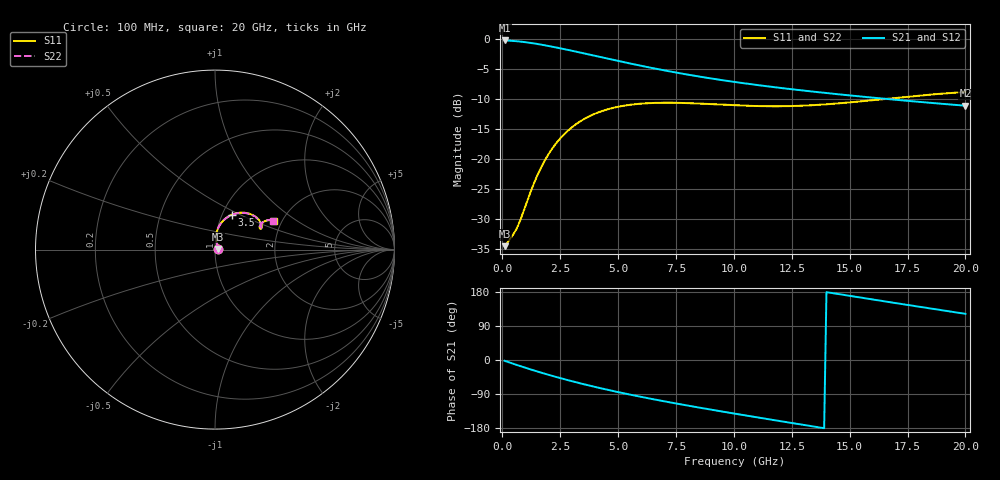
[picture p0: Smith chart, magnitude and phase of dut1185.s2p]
! Touchstone file exported from HFSS 2024.1.0
!  File:  C:/UserFiles/LocalFiles/RDL_TSV_Batchsim/temp_RDL_TSV_1185_1780126617.aedt
!  Generated:  03:53:15 PM May 30, 2026
!  Design:  RDL_TSV
!  Project:  temp_RDL_TSV_1185_1780126617
!  Setup:  Setup1
!  Solution:  Sweep
! Variables:
!  dtsv = 11.88um
!  hbump = 3um
!  htsv = 73.37um
!  ldown = 443.26um
!  lrdl = 528.68um
!  p = 40
!  p1 = 52.03um
!  rhole = 10um
!  subl = 3444.5um
!  t = 450um
!  tdown = 4.89um
!  trdl = 3.57um
!  viad = 10um
!  wdown = 11.32um
!  wrdl = 21.9um
!  xbump = 18um
# GHz S MA R 50.000000
! Terminal data exported
! Port[1] = TM1_1_T1
! Port[2] = TM1_4_T1
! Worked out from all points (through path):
!   200 points, 100 MHz to 20 GHz, reference 50 ohm
!   highest |S21| = -0.17 dB at 100 MHz (marker M1); lowest = -11.1 dB at 20 GHz (marker M2)
!   group delay of S21, straight-line fit = 31.1 ps
!   lowest |S11| = -34.5 dB at 100 MHz (marker M3), VSWR 1.04, Z = 51.9 + j0.388 ohm
!   |S11| at or under -10 dB: start of sweep to 16.38 GHz
!   |S22| runs from -34.5 to -8.8 dB; largest |S21 - S12| = 2e-14
!   S11 on the Smith chart (normalised r, x): 100 MHz: 1.04, +0.01; 3.5 GHz: 1.11, +0.45; 20 GHz: 1.81, +0.67
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0.1  0.01874 11.5  0.9811 -2.1  0.9811 -2.1  0.01874 11.5
! Gamma 0 0 0 0
! Port Impedance 50 0 50 0
0.6  0.02586 52.9  0.9677 -12.5  0.9677 -12.5  0.02587 52.8
0.8  0.03173 66.6  0.9591 -16.6  0.9591 -16.6  0.03173 66.5
1.1  0.0459 79.6  0.9432 -22.5  0.9432 -22.5  0.04585 79.5
1.5  0.07211 85.2  0.9178 -30.1  0.9178 -30.1  0.07196 85.1
2  0.1103 83.3  0.882 -39.2  0.882 -39.2  0.11 83.1
2.3  0.1336 80.1  0.8593 -44.4  0.8593 -44.4  0.1332 80.0
2.7  0.1634 75.1  0.8286 -51.0  0.8286 -51.0  0.1629 75.0
3.5  0.2146 64.5  0.7674 -63.6  0.7674 -63.6  0.2138 64.4
4.2  0.248 55.9  0.7162 -73.8  0.7162 -73.8  0.2471 55.8
5.1  0.2762 46.5  0.6558 -86.0  0.6558 -86.0  0.275 46.4
5.9  0.2898 39.7  0.608 -96.1  0.608 -96.1  0.2885 39.6
6.8  0.2957 33.6  0.5611 -106.8  0.5611 -106.8  0.2943 33.6
7.6  0.2954 29.7  0.525 -115.8  0.525 -115.8  0.2938 29.6
8.4  0.2919 26.9  0.4937 -124.5  0.4937 -124.5  0.2903 26.8
10.1  0.2816 24.3  0.4396 -142.2  0.4396 -142.2  0.2799 24.4
11.7  0.2766 25.1  0.4004 -158.3  0.4004 -158.3  0.2751 25.3
13.4  0.2823 27.5  0.367 -175.1  0.367 -175.1  0.2811 27.7
15  0.2979 29.2  0.3408 169.3  0.3408 169.3  0.297 29.4
16.7  0.3209 29.7  0.317 152.9  0.317 152.9  0.3202 29.9
18.3  0.3438 28.5  0.2976 137.7  0.2976 137.7  0.3434 28.7
20  0.3636 26.2  0.2796 121.8  0.2796 121.8  0.3634 26.4
